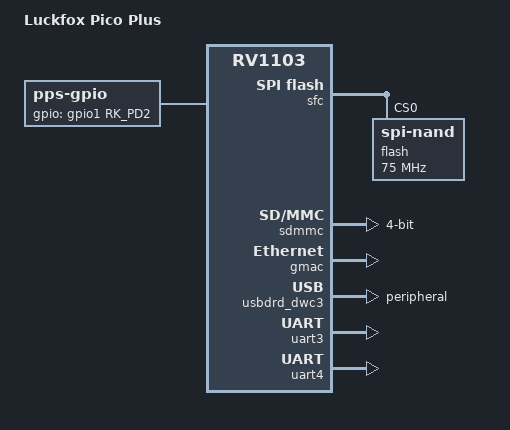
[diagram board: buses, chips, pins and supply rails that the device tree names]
// SPDX-License-Identifier: (GPL-2.0+ OR MIT)
/*
 * Copyright (c) 2022 Rockchip Electronics Co., Ltd.
 */

/dts-v1/;

#include "rv1103.dtsi"
#include "rv1106-evb.dtsi"
#include "rv1103-luckfox-pico-ipc.dtsi"

/ {
	model = "Luckfox Pico Plus";
	compatible = "rockchip,rv1103g-38x38-ipc-v10", "rockchip,rv1103";

	pps {
		compatible = "pps-gpio";
		pinctrl-names = "default";
		gpios = <&gpio1 RK_PD2 GPIO_ACTIVE_HIGH>;
		status = "okay";
	};
};

/**********GPIO**********/
&pinctrl {
	gpio1-pd2 {
		gpio1_pd2:gpio1-pd2 {
			rockchip,pins = <2 RK_PD2 RK_FUNC_GPIO &pcfg_pull_none>;
		};
	};
};

/**********SFC**********/
&sfc {
	status = "okay";
	flash@0 {
		compatible = "spi-nand";
		reg = <0>;
		spi-max-frequency = <75000000>;
		spi-rx-bus-width = <4>;
		spi-tx-bus-width = <1>;
	};
};

/**********SDMMC**********/
&sdmmc {
	max-frequency = <50000000>;
	no-sdio;
	no-mmc;
	bus-width = <4>;
	cap-mmc-highspeed;
	cap-sd-highspeed;
	disable-wp;
	pinctrl-names = "default";
	pinctrl-0 = <&sdmmc0_clk &sdmmc0_cmd &sdmmc0_det &sdmmc0_bus4>;
	status = "okay";
};

/**********ETH**********/
&gmac {
	status = "okay";
};

/**********USB**********/
&usbdrd_dwc3 {
	status = "okay";
	dr_mode = "peripheral";
};

/**********SPI**********/
/* SPI0_M0 */
&spi0 {
	status = "disabled";
	spidev@0 {
		spi-max-frequency = <50000000>;
	};
  fbtft@0 {
    spi-max-frequency = <50000000>;
  };
};

/**********I2C**********/
/* I2C3_M1 */
&i2c3 {
	status = "disabled";
	clock-frequency = <100000>;
};

/* I2C0_M2 */
&i2c0 {
	status = "disabled";
	clock-frequency = <100000>;
};

/**********UART**********/
/* UART3_M1 */
&uart3 {
/*	status = "disabled";*/
	status = "okay";
	pinctrl-names = "default";
	pinctrl-0 = <&uart3m1_xfer>;
};

/* UART4_M1 */
&uart4 {
/*	status = "disabled";*/
	status = "okay";
	pinctrl-names = "default";
	pinctrl-0 = <&uart4m1_xfer>;
};

/**********PWM**********/
/* PWM1_M0 */
&pwm1 {
	status = "disabled";
};

